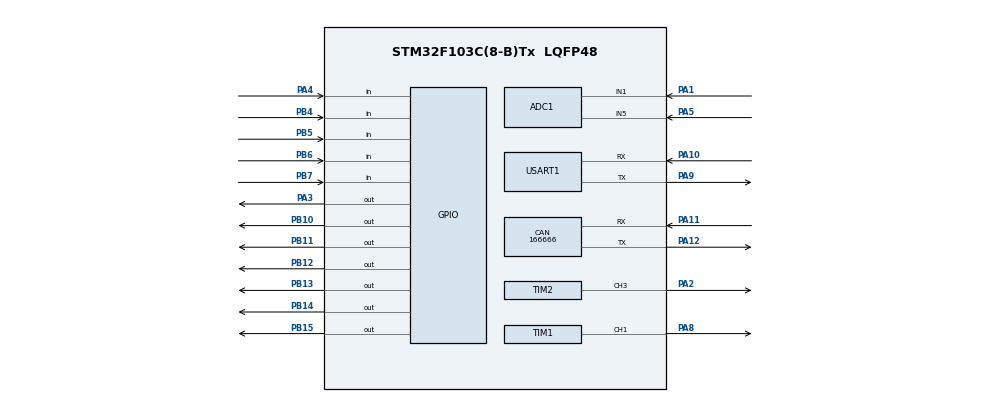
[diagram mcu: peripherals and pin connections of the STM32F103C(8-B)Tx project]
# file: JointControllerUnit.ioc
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ADC1.Channel-0\#ChannelRegularConversion=ADC_CHANNEL_1
ADC1.NbrOfConversionFlag=1
ADC1.Rank-0\#ChannelRegularConversion=1
ADC1.SamplingTime-0\#ChannelRegularConversion=ADC_SAMPLETIME_1CYCLE_5
ADC1.master=1
CAN.CalculateBaudRate=166666
CAN.CalculateTimeBit=6000
CAN.CalculateTimeQuantum=2000.0
Mcu.Family=STM32F1
Mcu.Name=STM32F103C(8-B)Tx
Mcu.Package=LQFP48
NVIC.PriorityGroup=NVIC_PRIORITYGROUP_4
PA1.Signal=ADCx_IN1
PA10.Mode=Asynchronous
PA10.Signal=USART1_RX
PA11.Mode=CAN_Activate
PA11.Signal=CAN_RX
PA12.Mode=CAN_Activate
PA12.Signal=CAN_TX
PA2.Signal=S_TIM2_CH3
PA3.Signal=GPIO_Output
PA4.Signal=GPIO_Input
PA5.Signal=ADCx_IN5
PA8.Signal=S_TIM1_CH1
PA9.Mode=Asynchronous
PA9.Signal=USART1_TX
PB10.Signal=GPIO_Output
PB11.Signal=GPIO_Output
PB12.Signal=GPIO_Output
PB13.Signal=GPIO_Output
PB14.Signal=GPIO_Output
PB15.Signal=GPIO_Output
PB4.Signal=GPIO_Input
PB5.Signal=GPIO_Input
PB6.Signal=GPIO_Input
PB7.Signal=GPIO_Input
ProjectManager.HeapSize=0x200
ProjectManager.StackSize=0x400
ProjectManager.TargetToolchain=EWARM V8.32
RCC.APB1Freq_Value=8000000
RCC.APB2Freq_Value=8000000
SH.ADCx_IN1.0=ADC1_IN1,IN1
SH.ADCx_IN5.0=ADC1_IN5,IN5
SH.S_TIM1_CH1.0=TIM1_CH1,PWM Generation1 CH1
SH.S_TIM2_CH3.0=TIM2_CH3,PWM Generation3 CH3
TIM1.Channel-PWM\ Generation1\ CH1=TIM_CHANNEL_1
TIM2.Channel-PWM\ Generation3\ CH3=TIM_CHANNEL_3
USART1.VirtualMode=VM_ASYNC
VP_SYS_VS_ND.Mode=No_Debug
board=custom

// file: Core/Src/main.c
/* USER CODE BEGIN Header */
/**
  ******************************************************************************
  * @file           : main.c
  * @brief          : Main program body
  ******************************************************************************
  * @attention
  *
  * Copyright (c) 2026 STMicroelectronics.
  * All rights reserved.
  *
  * This software is licensed under terms that can be found in the LICENSE file
  * in the root directory of this software component.
  * If no LICENSE file comes with this software, it is provided AS-IS.
  *
  ******************************************************************************
  */
/* USER CODE END Header */
#include "main.h"

/* USER CODE BEGIN Includes */
#include <stdio.h>
/* USER CODE END Includes */

ADC_HandleTypeDef hadc1;

CAN_HandleTypeDef hcan;

TIM_HandleTypeDef htim1;
TIM_HandleTypeDef htim2;

UART_HandleTypeDef huart1;

/* USER CODE BEGIN PV */

CAN_TxHeaderTypeDef canTxHeader;
uint8_t canTxData[8];
uint32_t canTxMailbox;
uint8_t canMsgCounter = 0;

/* USER CODE END PV */

#define FREQ 65535/5

void SystemClock_Config(void);
static void MX_GPIO_Init(void);
static void MX_ADC1_Init(void);
static void MX_CAN_Init(void);
static void MX_TIM1_Init(void);
static void MX_USART1_UART_Init(void);
static void MX_TIM2_Init(void);

/* USER CODE BEGIN 0 */

uint32_t Read_ADC_Channel(uint32_t channel)
{
    ADC_ChannelConfTypeDef sConfig = {0};

    sConfig.Channel = channel;
    sConfig.Rank = ADC_REGULAR_RANK_1;
    sConfig.SamplingTime = ADC_SAMPLETIME_55CYCLES_5;

    HAL_ADC_ConfigChannel(&hadc1, &sConfig);

    HAL_ADC_Start(&hadc1);
    HAL_ADC_PollForConversion(&hadc1, HAL_MAX_DELAY);

    uint32_t val = HAL_ADC_GetValue(&hadc1);

    HAL_ADC_Stop(&hadc1);

    return val;
}

/* USER CODE END 0 */

int main(void)
{

  /* MCU Configuration--------------------------------------------------------*/

  /* Reset of all peripherals, Initializes the Flash interface and the Systick. */
  HAL_Init();

  /* Configure the system clock */
  SystemClock_Config();

  /* Initialize all configured peripherals */
  MX_GPIO_Init();
  MX_ADC1_Init();
  MX_CAN_Init();
  MX_TIM1_Init();
  MX_USART1_UART_Init();
  MX_TIM2_Init();
  /* USER CODE BEGIN 2 */
  HAL_GPIO_WritePin(GPIOB, GPIO_PIN_1, GPIO_PIN_SET);
  HAL_TIM_PWM_Start(&htim1, TIM_CHANNEL_1);
  __HAL_TIM_SET_COMPARE(&htim1, TIM_CHANNEL_1, FREQ / 2);

  CAN_FilterTypeDef canFilter = {0};
  canFilter.FilterBank = 0;
  canFilter.FilterMode = CAN_FILTERMODE_IDMASK;
  canFilter.FilterScale = CAN_FILTERSCALE_32BIT;
  canFilter.FilterIdHigh = 0;
  canFilter.FilterIdLow = 0;
  canFilter.FilterMaskIdHigh = 0;
  canFilter.FilterMaskIdLow = 0;
  canFilter.FilterFIFOAssignment = CAN_RX_FIFO0;
  canFilter.FilterActivation = CAN_FILTER_ENABLE;
  HAL_CAN_ConfigFilter(&hcan, &canFilter);

  HAL_CAN_Start(&hcan);

  canTxHeader.StdId = 0x123;
  canTxHeader.ExtId = 0;
  canTxHeader.IDE = CAN_ID_STD;
  canTxHeader.RTR = CAN_RTR_DATA;
  canTxHeader.DLC = 8;
  canTxHeader.TransmitGlobalTime = DISABLE;
  /* USER CODE END 2 */

  /* Infinite loop */
  /* USER CODE BEGIN WHILE */
  uint32_t counter = 0;
  uint32_t adc0 = 0;
  uint32_t adc1 = 0;
  while (1)
  {
    counter++;
    adc0 = Read_ADC_Channel(ADC_CHANNEL_1);
    adc1 = Read_ADC_Channel(ADC_CHANNEL_5);

    canTxData[0] = 0xAA;
    canTxData[1] = 0xBB;
    canTxData[2] = 0xCC;
    canTxData[3] = 0xDD;
    canTxData[4] = 0x11;
    canTxData[5] = 0x22;
    canTxData[6] = 0x33;
    canTxData[7] = 0x44;

    if (HAL_CAN_AddTxMessage(&hcan, &canTxHeader, canTxData, &canTxMailbox) == HAL_OK)
    {
      canMsgCounter++;
      printf("CAN TX: ID=0x%03lX Mailbox=%lu Count=%u\r\n",
             canTxHeader.StdId, canTxMailbox, canMsgCounter);
    }
    else
    {
      printf("CAN TX ERROR\r\n");
    }

    printf("Counter: %lu | ADC0: %lu | ADC1: %lu\r\n",
               counter, adc0, adc1);
    HAL_GPIO_TogglePin(GPIOB, GPIO_PIN_0);
    HAL_Delay(1000);
  }
  /* USER CODE END 3 */
}

void SystemClock_Config(void)
{
  RCC_OscInitTypeDef RCC_OscInitStruct = {0};
  RCC_ClkInitTypeDef RCC_ClkInitStruct = {0};
  RCC_PeriphCLKInitTypeDef PeriphClkInit = {0};

  /** Initializes the RCC Oscillators according to the specified parameters
  * in the RCC_OscInitTypeDef structure.
  */
  RCC_OscInitStruct.OscillatorType = RCC_OSCILLATORTYPE_HSI;
  RCC_OscInitStruct.HSIState = RCC_HSI_ON;
  RCC_OscInitStruct.HSICalibrationValue = RCC_HSICALIBRATION_DEFAULT;
  RCC_OscInitStruct.PLL.PLLState = RCC_PLL_NONE;
  if (HAL_RCC_OscConfig(&RCC_OscInitStruct) != HAL_OK)
  {
    Error_Handler();
  }

  /** Initializes the CPU, AHB and APB buses clocks
  */
  RCC_ClkInitStruct.ClockType = RCC_CLOCKTYPE_HCLK|RCC_CLOCKTYPE_SYSCLK
                              |RCC_CLOCKTYPE_PCLK1|RCC_CLOCKTYPE_PCLK2;
  RCC_ClkInitStruct.SYSCLKSource = RCC_SYSCLKSOURCE_HSI;
  RCC_ClkInitStruct.AHBCLKDivider = RCC_SYSCLK_DIV1;
  RCC_ClkInitStruct.APB1CLKDivider = RCC_HCLK_DIV1;
  RCC_ClkInitStruct.APB2CLKDivider = RCC_HCLK_DIV1;

  if (HAL_RCC_ClockConfig(&RCC_ClkInitStruct, FLASH_LATENCY_0) != HAL_OK)
  {
    Error_Handler();
  }
  PeriphClkInit.PeriphClockSelection = RCC_PERIPHCLK_ADC;
  PeriphClkInit.AdcClockSelection = RCC_ADCPCLK2_DIV2;
  if (HAL_RCCEx_PeriphCLKConfig(&PeriphClkInit) != HAL_OK)
  {
    Error_Handler();
  }
}

static void MX_ADC1_Init(void)
{

  ADC_ChannelConfTypeDef sConfig = {0};

  /** Common config
  */
  hadc1.Instance = ADC1;
  hadc1.Init.ScanConvMode = ADC_SCAN_DISABLE;
  hadc1.Init.ContinuousConvMode = DISABLE;
  hadc1.Init.DiscontinuousConvMode = DISABLE;
  hadc1.Init.ExternalTrigConv = ADC_SOFTWARE_START;
  hadc1.Init.DataAlign = ADC_DATAALIGN_RIGHT;
  hadc1.Init.NbrOfConversion = 1;
  if (HAL_ADC_Init(&hadc1) != HAL_OK)
  {
    Error_Handler();
  }

  /** Configure Regular Channel
  */
  sConfig.Channel = ADC_CHANNEL_1;
  sConfig.Rank = ADC_REGULAR_RANK_1;
  sConfig.SamplingTime = ADC_SAMPLETIME_1CYCLE_5;
  if (HAL_ADC_ConfigChannel(&hadc1, &sConfig) != HAL_OK)
  {
    Error_Handler();
  }

}

static void MX_CAN_Init(void)
{

  hcan.Instance = CAN1;
  hcan.Init.Prescaler = 16;
  hcan.Init.Mode = CAN_MODE_NORMAL;
  hcan.Init.SyncJumpWidth = CAN_SJW_1TQ;
  hcan.Init.TimeSeg1 = CAN_BS1_1TQ;
  hcan.Init.TimeSeg2 = CAN_BS2_1TQ;
  hcan.Init.TimeTriggeredMode = DISABLE;
  hcan.Init.AutoBusOff = DISABLE;
  hcan.Init.AutoWakeUp = DISABLE;
  hcan.Init.AutoRetransmission = DISABLE;
  hcan.Init.ReceiveFifoLocked = DISABLE;
  hcan.Init.TransmitFifoPriority = DISABLE;
  if (HAL_CAN_Init(&hcan) != HAL_OK)
  {
    Error_Handler();
  }

}

static void MX_TIM1_Init(void)
{

  TIM_MasterConfigTypeDef sMasterConfig = {0};
  TIM_OC_InitTypeDef sConfigOC = {0};
  TIM_BreakDeadTimeConfigTypeDef sBreakDeadTimeConfig = {0};

  htim1.Instance = TIM1;
  htim1.Init.Prescaler = 0;
  htim1.Init.CounterMode = TIM_COUNTERMODE_UP;
  htim1.Init.Period = FREQ;
  htim1.Init.ClockDivision = TIM_CLOCKDIVISION_DIV1;
  htim1.Init.RepetitionCounter = 0;
  htim1.Init.AutoReloadPreload = TIM_AUTORELOAD_PRELOAD_DISABLE;
  if (HAL_TIM_PWM_Init(&htim1) != HAL_OK)
  {
    Error_Handler();
  }
  sMasterConfig.MasterOutputTrigger = TIM_TRGO_RESET;
  sMasterConfig.MasterSlaveMode = TIM_MASTERSLAVEMODE_DISABLE;
  if (HAL_TIMEx_MasterConfigSynchronization(&htim1, &sMasterConfig) != HAL_OK)
  {
    Error_Handler();
  }
  sConfigOC.OCMode = TIM_OCMODE_PWM1;
  sConfigOC.Pulse = 0;
  sConfigOC.OCPolarity = TIM_OCPOLARITY_HIGH;
  sConfigOC.OCNPolarity = TIM_OCNPOLARITY_HIGH;
  sConfigOC.OCFastMode = TIM_OCFAST_DISABLE;
  sConfigOC.OCIdleState = TIM_OCIDLESTATE_RESET;
  sConfigOC.OCNIdleState = TIM_OCNIDLESTATE_RESET;
  if (HAL_TIM_PWM_ConfigChannel(&htim1, &sConfigOC, TIM_CHANNEL_1) != HAL_OK)
  {
    Error_Handler();
  }
  sBreakDeadTimeConfig.OffStateRunMode = TIM_OSSR_DISABLE;
  sBreakDeadTimeConfig.OffStateIDLEMode = TIM_OSSI_DISABLE;
  sBreakDeadTimeConfig.LockLevel = TIM_LOCKLEVEL_OFF;
  sBreakDeadTimeConfig.DeadTime = 0;
  sBreakDeadTimeConfig.BreakState = TIM_BREAK_DISABLE;
  sBreakDeadTimeConfig.BreakPolarity = TIM_BREAKPOLARITY_HIGH;
  sBreakDeadTimeConfig.AutomaticOutput = TIM_AUTOMATICOUTPUT_DISABLE;
  if (HAL_TIMEx_ConfigBreakDeadTime(&htim1, &sBreakDeadTimeConfig) != HAL_OK)
  {
    Error_Handler();
  }
  HAL_TIM_MspPostInit(&htim1);

}

static void MX_TIM2_Init(void)
{

  TIM_MasterConfigTypeDef sMasterConfig = {0};
  TIM_OC_InitTypeDef sConfigOC = {0};

  htim2.Instance = TIM2;
  htim2.Init.Prescaler = 0;
  htim2.Init.CounterMode = TIM_COUNTERMODE_UP;
  htim2.Init.Period = 65535;
  htim2.Init.ClockDivision = TIM_CLOCKDIVISION_DIV1;
  htim2.Init.AutoReloadPreload = TIM_AUTORELOAD_PRELOAD_DISABLE;
  if (HAL_TIM_PWM_Init(&htim2) != HAL_OK)
  {
    Error_Handler();
  }
  sMasterConfig.MasterOutputTrigger = TIM_TRGO_RESET;
  sMasterConfig.MasterSlaveMode = TIM_MASTERSLAVEMODE_DISABLE;
  if (HAL_TIMEx_MasterConfigSynchronization(&htim2, &sMasterConfig) != HAL_OK)
  {
    Error_Handler();
  }
  sConfigOC.OCMode = TIM_OCMODE_PWM1;
  sConfigOC.Pulse = 0;
  sConfigOC.OCPolarity = TIM_OCPOLARITY_HIGH;
  sConfigOC.OCFastMode = TIM_OCFAST_DISABLE;
  if (HAL_TIM_PWM_ConfigChannel(&htim2, &sConfigOC, TIM_CHANNEL_3) != HAL_OK)
  {
    Error_Handler();
  }
  HAL_TIM_MspPostInit(&htim2);

}

static void MX_USART1_UART_Init(void)
{

  huart1.Instance = USART1;
  huart1.Init.BaudRate = 115200;
  huart1.Init.WordLength = UART_WORDLENGTH_8B;
  huart1.Init.StopBits = UART_STOPBITS_1;
  huart1.Init.Parity = UART_PARITY_NONE;
  huart1.Init.Mode = UART_MODE_TX_RX;
  huart1.Init.HwFlowCtl = UART_HWCONTROL_NONE;
  huart1.Init.OverSampling = UART_OVERSAMPLING_16;
  if (HAL_UART_Init(&huart1) != HAL_OK)
  {
    Error_Handler();
  }

}

static void MX_GPIO_Init(void)
{
  GPIO_InitTypeDef GPIO_InitStruct = {0};

  /* GPIO Ports Clock Enable */
  __HAL_RCC_GPIOA_CLK_ENABLE();
  __HAL_RCC_GPIOB_CLK_ENABLE();

  /*Configure GPIO pin Output Level */
  HAL_GPIO_WritePin(GPIOA, GPIO_PIN_3, GPIO_PIN_RESET);

  /*Configure GPIO pin Output Level */
  HAL_GPIO_WritePin(GPIOB, GPIO_PIN_10|GPIO_PIN_11|GPIO_PIN_12|GPIO_PIN_13
                          |GPIO_PIN_14|GPIO_PIN_15, GPIO_PIN_RESET);

  /*Configure GPIO pin : PA3 */
  GPIO_InitStruct.Pin = GPIO_PIN_3;
  GPIO_InitStruct.Mode = GPIO_MODE_OUTPUT_PP;
  GPIO_InitStruct.Pull = GPIO_NOPULL;
  GPIO_InitStruct.Speed = GPIO_SPEED_FREQ_LOW;
  HAL_GPIO_Init(GPIOA, &GPIO_InitStruct);

  /*Configure GPIO pin : PA4 */
  GPIO_InitStruct.Pin = GPIO_PIN_4;
  GPIO_InitStruct.Mode = GPIO_MODE_INPUT;
  GPIO_InitStruct.Pull = GPIO_NOPULL;
  HAL_GPIO_Init(GPIOA, &GPIO_InitStruct);

  /*Configure GPIO pins : PB10 PB11 PB12 PB13
                           PB14 PB15 */
  GPIO_InitStruct.Pin = GPIO_PIN_10|GPIO_PIN_11|GPIO_PIN_12|GPIO_PIN_13
                          |GPIO_PIN_14|GPIO_PIN_15;
  GPIO_InitStruct.Mode = GPIO_MODE_OUTPUT_PP;
  GPIO_InitStruct.Pull = GPIO_NOPULL;
  GPIO_InitStruct.Speed = GPIO_SPEED_FREQ_LOW;
  HAL_GPIO_Init(GPIOB, &GPIO_InitStruct);

  /*Configure GPIO pins : PB4 PB5 PB6 PB7 */
  GPIO_InitStruct.Pin = GPIO_PIN_4|GPIO_PIN_5|GPIO_PIN_6|GPIO_PIN_7;
  GPIO_InitStruct.Mode = GPIO_MODE_INPUT;
  GPIO_InitStruct.Pull = GPIO_NOPULL;
  HAL_GPIO_Init(GPIOB, &GPIO_InitStruct);

}

void Error_Handler(void)
{
  __disable_irq();
  while (1)
  {
  }
}

/* USER CODE BEGIN 4 */
int _write(int fd, char *ptr, int len) {
    HAL_UART_Transmit(&huart1, (uint8_t *)ptr, len, HAL_MAX_DELAY);
    return len;
}
/* USER CODE END 4 */
